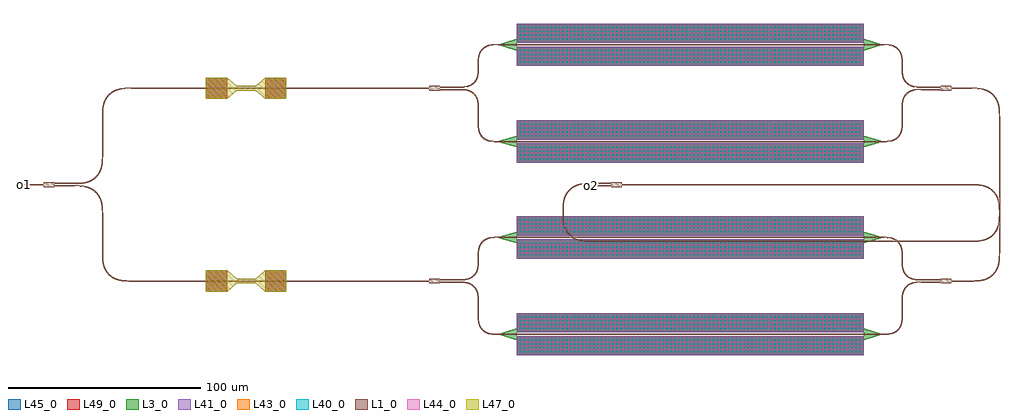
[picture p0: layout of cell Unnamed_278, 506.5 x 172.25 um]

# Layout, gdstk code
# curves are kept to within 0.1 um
from math import pi, radians
import gdstk
lib = gdstk.Library(unit=1e-6, precision=1e-09)
def R(c, l, rs):  # rectangles x0, y0, x1, y1
    for r in rs: c.add(gdstk.rectangle(r[:2], r[2:], *l))
def A(c, l, x, y, w, h, nx, ny, dx, dy):  # array of equal rectangles
    R(c, l, [(x+i*dx, y+j*dy, x+i*dx+w, y+j*dy+h) for i in range(nx) for j in range(ny)])
def P(c, l, *ps):  # polygons
    for p in ps: c.add(gdstk.Polygon(p, *l))
L1_0 = (1, 0)
L3_0 = (3, 0)
L40_0 = (40, 0)
L41_0 = (41, 0)
L43_0 = (43, 0)
L44_0 = (44, 0)
L45_0 = (45, 0)
L47_0 = (47, 0)
L49_0 = (49, 0)

mmi1x2_wnone_wt1_lt10_l_ = lib.new_cell('mmi1x2_WNone_WT1_LT10_L_4e0f7121')
P(mmi1x2_wnone_wt1_lt10_l_, L1_0, [(0,-1.25),(0,-0.5),(-10,-0.25),(-10,0.25),(0,0.5),(0,1.25),(5.5,1.25),(5.5,1.125),(15.5,0.875),(15.5,0.375),(5.5,0.125),(5.5,-0.125),(15.5,-0.375),(15.5,-0.875),(5.5,-1.125),(5.5,-1.25)])

straight_heater_metal_u_ = lib.new_cell('straight_heater_metal_u_385113d0')
R(straight_heater_metal_u_, L1_0, [(0,-0.25,10,0.25)])
A(straight_heater_metal_u_, L43_0, -14.75, -4.35, 0.7, 0.7, 5, 5, 2, 2)
A(straight_heater_metal_u_, L43_0, 16.05, -4.35, 0.7, 0.7, 5, 5, 2, 2)
A(straight_heater_metal_u_, L44_0, -13.75, -3.35, 0.7, 0.7, 4, 4, 2, 2)
A(straight_heater_metal_u_, L44_0, 17.05, -3.35, 0.7, 0.7, 4, 4, 2, 2)
R(straight_heater_metal_u_, L45_0, [(-15.9,-5.5,-4.9,5.5), (14.9,-5.5,25.9,5.5)])
P(straight_heater_metal_u_, L47_0, [(-15.9,-5.5),(-15.9,5.5),(-4.9,5.5),(0.1,1.25),(9.9,1.25),(14.9,5.5),(25.9,5.5),(25.9,-5.5),(14.9,-5.5),(9.9,-1.25),(0.1,-1.25),(-4.9,-5.5)])
R(straight_heater_metal_u_, L49_0, [(-15.9,-5.5,-4.9,5.5), (14.9,-5.5,25.9,5.5)])

bend_euler_rnone_a90_p0_ = lib.new_cell('bend_euler_RNone_A90_P0_d7c3a5a9')
P(bend_euler_rnone_a90_p0_, L1_0, [(0,-0.25),(0,0.25),(2.881,0.353),(3.952,0.52),(4.99,0.806),(6.431,1.505),(7.575,2.425),(8.495,3.569),(9.194,5.01),(9.48,6.048),(9.647,7.119),(9.75,10),(10.25,10),(10.158,7.205),(9.797,5.254),(9.457,4.312),(9.066,3.545),(8.5,2.715),(7.928,2.072),(7.285,1.5),(6.455,0.934),(5.688,0.543),(4.746,0.203),(2.795,-0.158)])

straight_l2_n2_csstrip_w = lib.new_cell('straight_L2_N2_CSstrip_WNone')
R(straight_l2_n2_csstrip_w, L1_0, [(0,-0.25,2,0.25)])

straight_l7_n2_csstrip_w = lib.new_cell('straight_L7_N2_CSstrip_WNone')
R(straight_l7_n2_csstrip_w, L1_0, [(0,-0.25,7,0.25)])

straight_l180_n2_csstrip = lib.new_cell('straight_L180_N2_CSstrip_WNone')
R(straight_l180_n2_csstrip, L1_0, [(0,-0.25,180,0.25)])

taper_strip_to_ridge_l1_ = lib.new_cell('taper_strip_to_ridge_L1_3a86af41')
R(taper_strip_to_ridge_l1_, L1_0, [(0,-0.25,10,0.25)])
P(taper_strip_to_ridge_l1_, L3_0, [(10,-3),(0,-0.075),(0,0.075),(10,3)])

compass_s180_10_lslab90_ = lib.new_cell('compass_S180_10_LSLAB90_05ffcaa3')
R(compass_s180_10_lslab90_, L3_0, [(-90,-5,90,5)])

compass_s180_10_lm1_ptn_ = lib.new_cell('compass_S180_10_LM1_PTN_a9660620')
R(compass_s180_10_lm1_ptn_, L41_0, [(-90,-5,90,5)])

compass_s180_10_lm2_ptn_ = lib.new_cell('compass_S180_10_LM2_PTN_655a0ab1')
R(compass_s180_10_lm2_ptn_, L45_0, [(-90,-5,90,5)])

compass_s180_10_lmtop_p_ = lib.new_cell('compass_S180_10_LMTOP_P_11bbb343')
R(compass_s180_10_lmtop_p_, L49_0, [(-90,-5,90,5)])

via_s0p7_0p7_snone_gnon_ = lib.new_cell('via_S0p7_0p7_SNone_GNon_9f66867f')
R(via_s0p7_0p7_snone_gnon_, L40_0, [(-0.35,-0.35,0.35,0.35)])

c_via_s0p7_0p7_snone_gnon_ = lib.new_cell('via_S0p7_0p7_SNone_GNon_d0c93b95')
R(c_via_s0p7_0p7_snone_gnon_, L44_0, [(-0.35,-0.35,0.35,0.35)])

c_via_s0p7_0p7_snone_gnon__ = lib.new_cell('via_S0p7_0p7_SNone_GNon_a794b952')
R(c_via_s0p7_0p7_snone_gnon__, L43_0, [(-0.35,-0.35,0.35,0.35)])

via_stack_s180_10_lslab_ = lib.new_cell('via_stack_S180_10_LSLAB_6f7f59c7')
via_stack_s180_10_lslab_.add(gdstk.Reference(compass_s180_10_lslab90_, (0,0)))
via_stack_s180_10_lslab_.add(gdstk.Reference(compass_s180_10_lm1_ptn_, (0,0)))
via_stack_s180_10_lslab_.add(gdstk.Reference(compass_s180_10_lm2_ptn_, (0,0)))
via_stack_s180_10_lslab_.add(gdstk.Reference(compass_s180_10_lmtop_p_, (0,0)))
r = gdstk.Reference(via_s0p7_0p7_snone_gnon_, (-88,-3)); r.repetition = gdstk.Repetition(89, 4, v1=(2,0), v2=(0,2)); via_stack_s180_10_lslab_.add(r)
r = gdstk.Reference(c_via_s0p7_0p7_snone_gnon_, (-87,-2)); r.repetition = gdstk.Repetition(88, 3, v1=(2,0), v2=(0,2)); via_stack_s180_10_lslab_.add(r)
r = gdstk.Reference(c_via_s0p7_0p7_snone_gnon__, (-88,-3)); r.repetition = gdstk.Repetition(89, 4, v1=(2,0), v2=(0,2)); via_stack_s180_10_lslab_.add(r)

straight_pin_l200_csstr_ = lib.new_cell('straight_pin_L200_CSstr_ff9b3a61')
straight_pin_l200_csstr_.add(gdstk.Reference(straight_l180_n2_csstrip, (0,0)))
straight_pin_l200_csstr_.add(gdstk.Reference(taper_strip_to_ridge_l1_, (-10,0)))
straight_pin_l200_csstr_.add(gdstk.Reference(taper_strip_to_ridge_l1_, (190,0), rotation=pi))
straight_pin_l200_csstr_.add(gdstk.Reference(via_stack_s180_10_lslab_, (90,6)))
straight_pin_l200_csstr_.add(gdstk.Reference(via_stack_s180_10_lslab_, (90,-6)))

mzi_dl10_ly2_lx200_bben_ = lib.new_cell('mzi_DL10_LY2_LX200_Bben_ff43f7ce')
mzi_dl10_ly2_lx200_bben_.add(gdstk.Reference(mmi1x2_wnone_wt1_lt10_l_, (0,0)))
mzi_dl10_ly2_lx200_bben_.add(gdstk.Reference(bend_euler_rnone_a90_p0_, (15.5,-0.625), x_reflection=True))
mzi_dl10_ly2_lx200_bben_.add(gdstk.Reference(bend_euler_rnone_a90_p0_, (25.5,-17.625), rotation=3*pi/2))
mzi_dl10_ly2_lx200_bben_.add(gdstk.Reference(bend_euler_rnone_a90_p0_, (15.5,0.625)))
mzi_dl10_ly2_lx200_bben_.add(gdstk.Reference(bend_euler_rnone_a90_p0_, (35.5,22.625), rotation=pi))
mzi_dl10_ly2_lx200_bben_.add(gdstk.Reference(bend_euler_rnone_a90_p0_, (245.5,12.625), rotation=pi/2))
mzi_dl10_ly2_lx200_bben_.add(gdstk.Reference(bend_euler_rnone_a90_p0_, (245.5,10.625), rotation=3*pi/2))
mzi_dl10_ly2_lx200_bben_.add(gdstk.Reference(bend_euler_rnone_a90_p0_, (235.5,-27.625)))
mzi_dl10_ly2_lx200_bben_.add(gdstk.Reference(bend_euler_rnone_a90_p0_, (255.5,-0.625), rotation=pi))
mzi_dl10_ly2_lx200_bben_.add(gdstk.Reference(straight_l2_n2_csstrip_w, (25.5,10.625), rotation=pi/2))
mzi_dl10_ly2_lx200_bben_.add(gdstk.Reference(straight_l7_n2_csstrip_w, (25.5,-10.625), rotation=3*pi/2))
mzi_dl10_ly2_lx200_bben_.add(gdstk.Reference(straight_pin_l200_csstr_, (45.5,22.625)))
mzi_dl10_ly2_lx200_bben_.add(gdstk.Reference(straight_pin_l200_csstr_, (45.5,-27.625)))
mzi_dl10_ly2_lx200_bben_.add(gdstk.Reference(mmi1x2_wnone_wt1_lt10_l_, (271,0), rotation=pi, x_reflection=True))
mzi_dl10_ly2_lx200_bben_.add(gdstk.Reference(straight_l2_n2_csstrip_w, (245.5,10.625), rotation=pi/2))
mzi_dl10_ly2_lx200_bben_.add(gdstk.Reference(straight_l7_n2_csstrip_w, (245.5,-17.625), rotation=pi/2))

bend_euler_r15_a90_p0p5_ = lib.new_cell('bend_euler_R15_A90_P0p5_14998747')
P(bend_euler_r15_a90_p0p5_, L1_0, [(0,-0.25),(0,0.25),(2.31,0.273),(4.332,0.406),(5.924,0.652),(7.346,1.03),(8.467,1.471),(9.541,2.045),(10.54,2.741),(11.45,3.55),(12.259,4.46),(12.955,5.459),(13.529,6.533),(13.97,7.654),(14.348,9.076),(14.594,10.668),(14.727,12.69),(14.75,15),(15.25,15),(15.222,12.537),(15.106,10.752),(14.891,9.246),(14.569,7.896),(14.099,6.583),(13.527,5.441),(12.739,4.262),(11.804,3.196),(10.738,2.261),(9.559,1.473),(8.417,0.901),(7.104,0.431),(5.754,0.109),(4.248,-0.106),(2.463,-0.222)])

straight_l19p375_n2_css_ = lib.new_cell('straight_L19p375_N2_CSs_3cf19edc')
R(straight_l19p375_n2_css_, L1_0, [(0,-0.25,19.375,0.25)])

straight_l54p5_n2_csstri = lib.new_cell('straight_L54p5_N2_CSstrip_WNone')
R(straight_l54p5_n2_csstri, L1_0, [(0,-0.25,54.5,0.25)])

straight_l80_n2_csstrip_ = lib.new_cell('straight_L80_N2_CSstrip_WNone')
R(straight_l80_n2_csstrip_, L1_0, [(0,-0.25,80,0.25)])

straight_l49p375_n2_css_ = lib.new_cell('straight_L49p375_N2_CSs_fca9df01')
R(straight_l49p375_n2_css_, L1_0, [(0,-0.25,49.375,0.25)])

straight_l196p5_n2_csstr = lib.new_cell('straight_L196p5_N2_CSstrip_WNone')
R(straight_l196p5_n2_csstr, L1_0, [(0,-0.25,196.5,0.25)])

straight_l20_n2_csstrip_ = lib.new_cell('straight_L20_N2_CSstrip_WNone')
R(straight_l20_n2_csstrip_, L1_0, [(0,-0.25,20,0.25)])

straight_l171_n2_csstrip = lib.new_cell('straight_L171_N2_CSstrip_WNone')
R(straight_l171_n2_csstrip, L1_0, [(0,-0.25,171,0.25)])

unnamed_278 = lib.new_cell('Unnamed_278')
P(unnamed_278, L1_0, [(-10,-0.25),(-10.25,0),(-10.062,0.188),(-10.025,0.188),(-10.215,0),(-10.025,0),(-10.025,0.188),(-10.062,0.188),(-10,0.25)],
  [(284.5,-0.875),(284.25,-0.625),(284.438,-0.437),(284.475,-0.437),(284.285,-0.625),(284.475,-0.625),(284.475,-0.437),(284.438,-0.437),(284.5,-0.375)])
unnamed_278.add(gdstk.Reference(mmi1x2_wnone_wt1_lt10_l_, (0,0)))
unnamed_278.add(gdstk.Reference(straight_heater_metal_u_, (100,50)))
unnamed_278.add(gdstk.Reference(straight_heater_metal_u_, (100,-50)))
unnamed_278.add(gdstk.Reference(mzi_dl10_ly2_lx200_bben_, (200,50)))
unnamed_278.add(gdstk.Reference(mzi_dl10_ly2_lx200_bben_, (200,-50)))
unnamed_278.add(gdstk.Reference(mmi1x2_wnone_wt1_lt10_l_, (300,0), rotation=pi, x_reflection=True))
unnamed_278.add(gdstk.Reference(bend_euler_r15_a90_p0p5_, (30.5,15.625), rotation=3*pi/2, x_reflection=True))
unnamed_278.add(gdstk.Reference(bend_euler_r15_a90_p0p5_, (45.5,50), rotation=pi))
unnamed_278.add(gdstk.Reference(straight_l19p375_n2_css_, (30.5,35), rotation=3*pi/2))
unnamed_278.add(gdstk.Reference(straight_l54p5_n2_csstri, (45.5,50)))
unnamed_278.add(gdstk.Reference(bend_euler_r15_a90_p0p5_, (30.5,-15.625), rotation=pi/2))
unnamed_278.add(gdstk.Reference(bend_euler_r15_a90_p0p5_, (45.5,-50), rotation=pi, x_reflection=True))
unnamed_278.add(gdstk.Reference(straight_l19p375_n2_css_, (30.5,-35), rotation=pi/2))
unnamed_278.add(gdstk.Reference(straight_l54p5_n2_csstri, (45.5,-50)))
unnamed_278.add(gdstk.Reference(straight_l80_n2_csstrip_, (110,50)))
unnamed_278.add(gdstk.Reference(straight_l80_n2_csstrip_, (110,-50)))
unnamed_278.add(gdstk.Reference(bend_euler_r15_a90_p0p5_, (496,35), rotation=pi/2))
unnamed_278.add(gdstk.Reference(bend_euler_r15_a90_p0p5_, (481,-29.375)))
unnamed_278.add(gdstk.Reference(straight_l49p375_n2_css_, (496,-14.375), rotation=pi/2))
unnamed_278.add(gdstk.Reference(bend_euler_r15_a90_p0p5_, (269.5,-14.375), rotation=3*pi/2))
unnamed_278.add(gdstk.Reference(straight_l196p5_n2_csstr, (284.5,-29.375)))
unnamed_278.add(gdstk.Reference(bend_euler_r15_a90_p0p5_, (284.5,0.625), rotation=pi))
unnamed_278.add(gdstk.Reference(bend_euler_r15_a90_p0p5_, (496,-35), rotation=3*pi/2, x_reflection=True))
unnamed_278.add(gdstk.Reference(bend_euler_r15_a90_p0p5_, (481,0), x_reflection=True))
unnamed_278.add(gdstk.Reference(straight_l20_n2_csstrip_, (496,-15), rotation=3*pi/2))
unnamed_278.add(gdstk.Reference(straight_l171_n2_csstrip, (481,0), rotation=pi))
unnamed_278.add(gdstk.Label('o1', (-10,0), layer=1, texttype=0))
unnamed_278.add(gdstk.Label('o2', (284.5,-0.625), layer=1, texttype=0))

lib.write_gds('Unnamed_278.gds')
